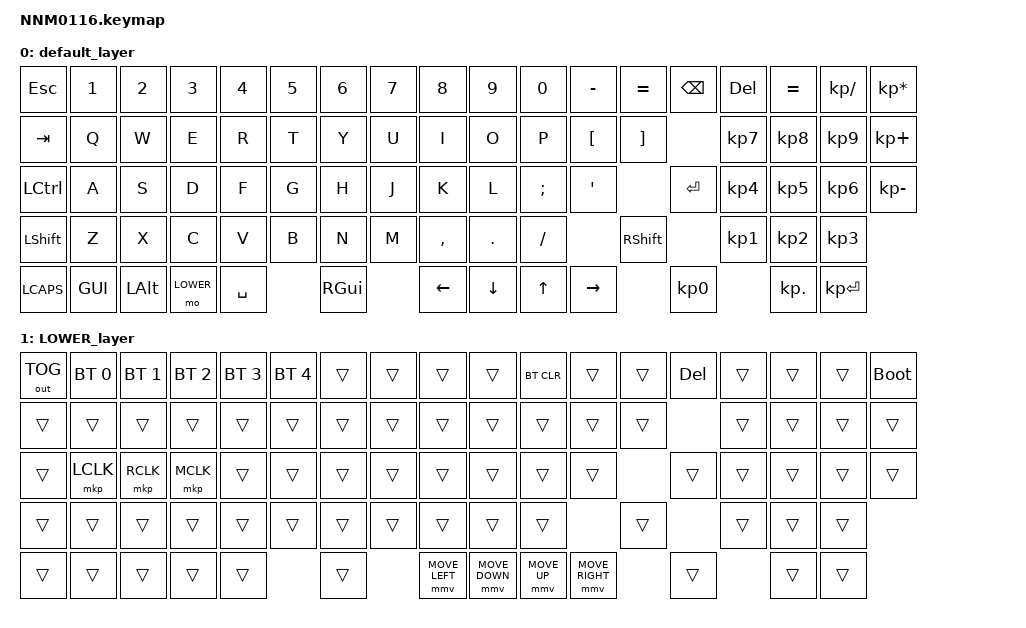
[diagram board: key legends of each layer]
/*
 * Copyright (c) 2022 The ZMK Contributors
 *
 * SPDX-License-Identifier: MIT
 */

#include <behaviors.dtsi>
#include <dt-bindings/zmk/keys.h>
#include <dt-bindings/zmk/bt.h>
#include <dt-bindings/zmk/outputs.h>
#include <dt-bindings/zmk/pointing.h>

#define BASE 0
#define LOWER 1

/ {
    keymap {
        compatible = "zmk,keymap";

        default_layer {
            bindings = <
                &kp ESC   &kp N1   &kp N2    &kp N3 &kp N4 &kp N5 &kp N6 &kp N7 &kp N8    &kp N9   &kp N0    &kp MINUS &kp EQUAL &kp BSPC  &kp DEL   &kp EQUAL    &kp KP_DIVIDE &kp KP_MULTIPLY
                &kp TAB   &kp Q    &kp W     &kp E  &kp R  &kp T  &kp Y  &kp U  &kp I     &kp O    &kp P     &kp LBKT  &kp RBKT            &kp KP_N7 &kp KP_N8    &kp KP_N9     &kp KP_PLUS
                &kp LCTRL &kp A    &kp S     &kp D  &kp F  &kp G  &kp H  &kp J  &kp K     &kp L    &kp SEMI  &kp SQT             &kp ENTER &kp KP_N4 &kp KP_N5    &kp KP_N6     &kp KP_MINUS
                &kp LSHFT &kp Z    &kp X     &kp C  &kp V  &kp B  &kp N  &kp M  &kp COMMA &kp DOT  &kp FSLH            &kp RSHFT           &kp KP_N1 &kp KP_N2    &kp KP_N3
                &kp LCAPS &kp GUI  &kp LALT &mo LOWER &kp SPACE     &kp RGUI  &kp LEFT &kp DOWN &kp UP  &kp RIGHT              &kp KP_N0              &kp KP_DOT    &kp KP_ENTER
            >;
        };
        
        LOWER_layer {
            bindings = <
                &out OUT_TOG &bt BT_SEL 0 &bt BT_SEL 1 &bt BT_SEL 2 &bt BT_SEL 3 &bt BT_SEL 4 &trans &trans &trans &trans &bt BT_CLR &trans &trans &kp DEL &trans &trans &trans &bootloader
                &trans &trans &trans &trans &trans &trans &trans &trans &trans &trans &trans  &trans &trans         &trans &trans &trans &trans
                &trans &mkp LCLK &mkp RCLK &mkp MCLK &trans &trans &trans &trans &trans &trans &trans  &trans         &trans &trans &trans &trans &trans
                &trans &trans &trans &trans &trans &trans &trans &trans &trans &trans &trans         &trans         &trans &trans &trans 
                &trans &trans &trans &trans &trans &trans &mmv MOVE_LEFT &mmv MOVE_DOWN &mmv MOVE_UP &mmv MOVE_RIGHT &trans &trans &trans
            >;
        };
    };
};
